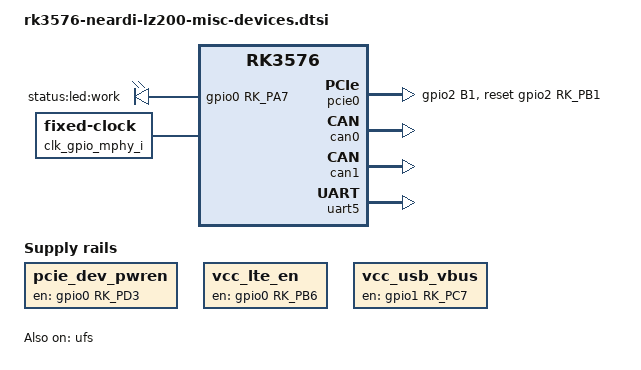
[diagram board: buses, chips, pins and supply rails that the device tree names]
/* pcie */
&pcie0 {
	reset-gpios = <&gpio2 RK_PB1 GPIO_ACTIVE_HIGH>;
	rockchip,skip-scan-in-resume;
	pinctrl-name = "default";
	pinctrl-0 = <&pcie_rst>;
	status = "okay";
};
/* pcie device power enable */
&{/} {
	pcie_dev_pwren: pcie_dev_pwren {
		compatible = "regulator-fixed";
		regulator-name = "Pcie_Pwren";
		regulator-boot-on;
		enable-active-high;
		regulator-always-on;
		gpio = <&gpio0 RK_PD3 GPIO_ACTIVE_HIGH>;
		pinctrl-names = "default";
		pinctrl-0 = <&pwren_pcie>;
	};
};
/* 4G power */
&{/} {
	vcc_lte_en: vcc_lte_en {
		compatible = "regulator-fixed";
		regulator-name = "Lte_Pwren";
		regulator-boot-on;
		enable-active-high;
		regulator-always-on;
		gpio = <&gpio0 RK_PB6 GPIO_ACTIVE_HIGH>;
		pinctrl-names = "default";
		pinctrl-0 = <&pwren_lte>;
	};
};
/* can */
&can0 {
	assigned-clocks = <&cru CLK_CAN0>;
	assigned-clock-rates = <200000000>;
	pinctrl-names = "default";
	pinctrl-0 = <&can0m0_pins>;
	status = "okay";
};

&can1 {
	assigned-clocks = <&cru CLK_CAN1>;
	assigned-clock-rates = <200000000>;
	pinctrl-names = "default";
	pinctrl-0 = <&can1m1_pins>;
	status = "okay";
};
/* 485 */
&uart5 {
	status = "okay";
	pinctrl-names = "default";
	pinctrl-0 = <&uart5m2_xfer>;
};
/* led */
&{/} {
	leds: leds {
		compatible = "gpio-leds";
		work_led: work_led {
			label = "status:led:work";
			gpios = <&gpio0 RK_PA7 GPIO_ACTIVE_HIGH>;
			linux,default-trigger = "timer";
			delay-on = <1000>;
			delay-off = <1000>;
		};
	};
};
/* usb type-A vbus */
&{/} {
	vcc_usb_vbus: vcc_usb_vbus {
		compatible = "regulator-fixed";
		regulator-name = "vbus_Pwren";
		regulator-boot-on;
		enable-active-high;
		regulator-always-on;
		gpio = <&gpio1 RK_PC7 GPIO_ACTIVE_HIGH>;
		pinctrl-names = "default";
		pinctrl-0 = <&pwren_vbus>;
	};
};

&gt1x {
	status = "disabled";
};

&uart4 {
	pinctrl-0 = <&uart4m1_xfer>;
};

/* ufs */
&{/} {
	clk_gpio_mphy_i: clk_gpio_mphy_i  { 
        compatible = "fixed-clock"; 
        #clock-cells = <0>; 
        clock-frequency = <26000000>; 
        clock-output-names = "clk_gpio_mphy_i"; 
    };
};

&ufs {
	status = "okay";
    compatible = "rockchip,rk3576-ufs";
    pinctrl-0 = <&ufs_refclk>;
    reset-gpios = <&gpio4 RK_PD0 GPIO_ACTIVE_HIGH>;
    assigned-clock-parents = <&clk_gpio_mphy_i>;
};
#if 0
/* Debug: rk3576j fails to start */
&bus_a72 {
    bus-supply = <&vdd_logic_s0>;
    pvtm-supply = <&vdd_logic_s0>;
    status = "okay";
};
#endif
&pinctrl {
	lte {
		pwren_lte: pwren_lte {
			rockchip,pins = <0 RK_PB6 RK_FUNC_GPIO &pcfg_pull_none>;
		};
	};

	pcie {
		pcie_rst: pcie_rst {
			rockchip,pins = <2 RK_PB1 RK_FUNC_GPIO &pcfg_pull_none>;
		};

		pwren_pcie: pwren_pcie {
			rockchip,pins = <0 RK_PD3 RK_FUNC_GPIO &pcfg_pull_none>;
		};
	};

	usb {
		pwren_vbus: pwren_vbus {
			rockchip,pins = <1 RK_PC7 RK_FUNC_GPIO &pcfg_pull_none>;
		};
	};
};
